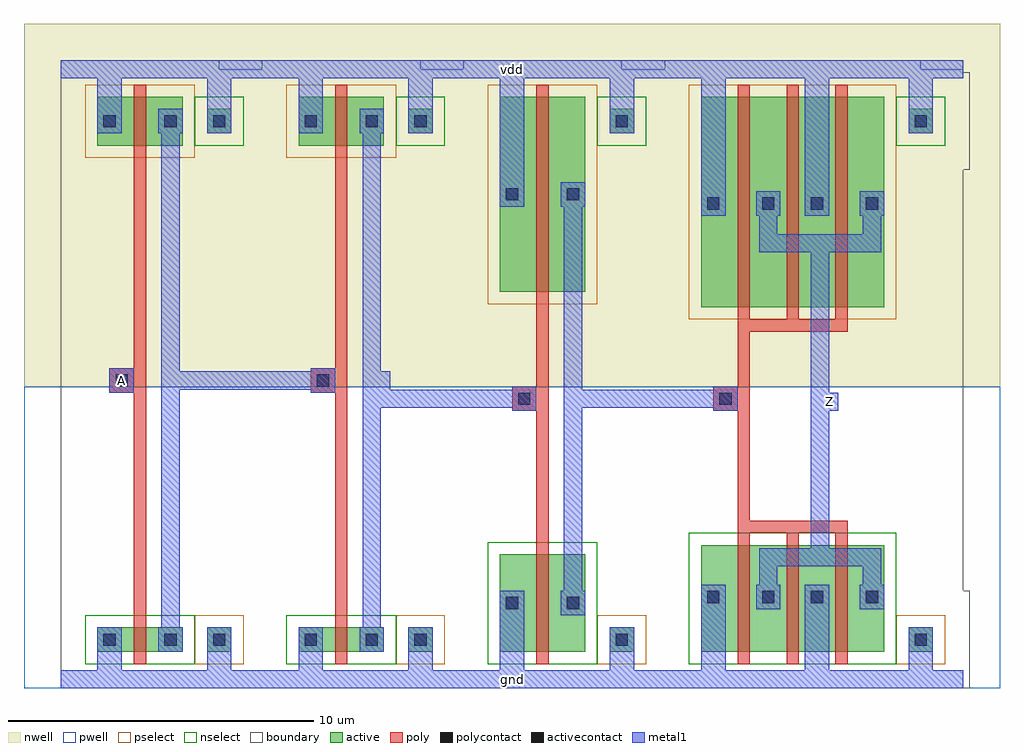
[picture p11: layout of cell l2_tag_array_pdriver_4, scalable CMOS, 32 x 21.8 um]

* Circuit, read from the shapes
.subckt l2_tag_array_pdriver_4 A Z gnd vdd
M1 l2_tag_array_pinv_7_1/A A gnd gnd nfet w=0.8u l=0.4u
M2 l2_tag_array_pinv_14_2/A l2_tag_array_pinv_7_1/A gnd gnd nfet w=0.8u l=0.4u
M3 l2_tag_array_pinv_15_3/A l2_tag_array_pinv_14_2/A gnd gnd nfet w=3.2u l=0.4u
M4 Z l2_tag_array_pinv_15_3/A gnd gnd nfet w=3.5u l=0.4u m=3
M5 l2_tag_array_pinv_7_1/A A vdd vdd pfet w=1.6u l=0.4u
M6 l2_tag_array_pinv_14_2/A l2_tag_array_pinv_7_1/A vdd vdd pfet w=1.6u l=0.4u
M7 l2_tag_array_pinv_15_3/A l2_tag_array_pinv_14_2/A vdd vdd pfet w=6.4u l=0.4u
M8 Z l2_tag_array_pinv_15_3/A vdd vdd pfet w=6.9u l=0.4u m=3
.ends

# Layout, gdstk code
import gdstk
lib = gdstk.Library(unit=1e-6, precision=1e-09)
def R(c, l, rs):  # rectangles x0, y0, x1, y1
    for r in rs: c.add(gdstk.rectangle(r[:2], r[2:], *l))
def A(c, l, x, y, w, h, nx, ny, dx, dy):  # array of equal rectangles
    R(c, l, [(x+i*dx, y+j*dy, x+i*dx+w, y+j*dy+h) for i in range(nx) for j in range(ny)])
pwell = (41, 0)
nwell = (42, 0)
active = (43, 0)
pselect = (44, 0)
nselect = (45, 0)
poly = (46, 0)
polycontact = (47, 0)
activecontact = (48, 0)
metal1 = (49, 0)
boundary = (63, 0)

l2_tag_array_contact_11 = lib.new_cell('l2_tag_array_contact_11')
R(l2_tag_array_contact_11, nwell, [(-1.2,-1.2,2,2)])
R(l2_tag_array_contact_11, active, [(0,0,0.8,0.8)])
R(l2_tag_array_contact_11, pselect, [(-0.4,-0.4,1.2,1.2)])
R(l2_tag_array_contact_11, activecontact, [(0.2,0.2,0.6,0.6)])
R(l2_tag_array_contact_11, metal1, [(0,0,0.8,0.8)])
R(l2_tag_array_contact_11, boundary, [(-1.2,-1.2,2,2)])

l2_tag_array_pmos_m1_w1_ = lib.new_cell('l2_tag_array_pmos_m1_w1_600_sm1_dm1_da_p')
R(l2_tag_array_pmos_m1_w1_, nwell, [(-1.2,-1.2,4,2.8)])
R(l2_tag_array_pmos_m1_w1_, active, [(0,0,2.8,1.6)])
R(l2_tag_array_pmos_m1_w1_, pselect, [(-0.4,-0.4,3.2,2)])
R(l2_tag_array_pmos_m1_w1_, poly, [(1.2,-0.4,1.6,2), (1.2,-0.4,1.6,2)])
R(l2_tag_array_pmos_m1_w1_, metal1, [(0,0.4,0.8,1.2), (2,0.4,2.8,1.2)])
R(l2_tag_array_pmos_m1_w1_, boundary, [(-1.2,-1.2,4,2.8)])
l2_tag_array_pmos_m1_w1_.add(gdstk.Reference(l2_tag_array_contact_11, (0,0.4)))
l2_tag_array_pmos_m1_w1_.add(gdstk.Reference(l2_tag_array_contact_11, (2,0.4)))
l2_tag_array_pmos_m1_w1_.add(gdstk.Label('G', (1.4,0.8), layer=46, texttype=0))
l2_tag_array_pmos_m1_w1_.add(gdstk.Label('S', (0.4,0.8), layer=49, texttype=0))
l2_tag_array_pmos_m1_w1_.add(gdstk.Label('D', (2.4,0.8), layer=49, texttype=0))

l2_tag_array_contact_10 = lib.new_cell('l2_tag_array_contact_10')
R(l2_tag_array_contact_10, pwell, [(-1.2,-1.2,2,2)])
R(l2_tag_array_contact_10, active, [(0,0,0.8,0.8)])
R(l2_tag_array_contact_10, nselect, [(-0.4,-0.4,1.2,1.2)])
R(l2_tag_array_contact_10, activecontact, [(0.2,0.2,0.6,0.6)])
R(l2_tag_array_contact_10, metal1, [(0,0,0.8,0.8)])
R(l2_tag_array_contact_10, boundary, [(-1.2,-1.2,2,2)])

l2_tag_array_nmos_m1_w0_ = lib.new_cell('l2_tag_array_nmos_m1_w0_800_sm1_dm1_da_p')
R(l2_tag_array_nmos_m1_w0_, pwell, [(-1.2,-1.2,4,2)])
R(l2_tag_array_nmos_m1_w0_, active, [(0,0,2.8,0.8)])
R(l2_tag_array_nmos_m1_w0_, nselect, [(-0.4,-0.4,3.2,1.2)])
R(l2_tag_array_nmos_m1_w0_, poly, [(1.2,-0.4,1.6,1.2), (1.2,-0.4,1.6,1.2)])
R(l2_tag_array_nmos_m1_w0_, metal1, [(0,0,0.8,0.8), (2,0,2.8,0.8)])
R(l2_tag_array_nmos_m1_w0_, boundary, [(-1.2,-1.2,4,2)])
l2_tag_array_nmos_m1_w0_.add(gdstk.Reference(l2_tag_array_contact_10, (0,0)))
l2_tag_array_nmos_m1_w0_.add(gdstk.Reference(l2_tag_array_contact_10, (2,0)))
l2_tag_array_nmos_m1_w0_.add(gdstk.Label('G', (1.4,0.4), layer=46, texttype=0))
l2_tag_array_nmos_m1_w0_.add(gdstk.Label('S', (0.4,0.4), layer=49, texttype=0))
l2_tag_array_nmos_m1_w0_.add(gdstk.Label('D', (2.4,0.4), layer=49, texttype=0))

l2_tag_array_contact_12 = lib.new_cell('l2_tag_array_contact_12')
R(l2_tag_array_contact_12, nwell, [(-1.2,-1.2,2,2)])
R(l2_tag_array_contact_12, active, [(0,0,0.8,0.8)])
R(l2_tag_array_contact_12, nselect, [(-0.4,-0.4,1.2,1.2)])
R(l2_tag_array_contact_12, activecontact, [(0.2,0.2,0.6,0.6)])
R(l2_tag_array_contact_12, metal1, [(0,0,0.8,0.8)])
R(l2_tag_array_contact_12, boundary, [(-1.2,-1.2,2,2)])

l2_tag_array_contact_13 = lib.new_cell('l2_tag_array_contact_13')
R(l2_tag_array_contact_13, pwell, [(-1.2,-1.2,2,2)])
R(l2_tag_array_contact_13, active, [(0,0,0.8,0.8)])
R(l2_tag_array_contact_13, pselect, [(-0.4,-0.4,1.2,1.2)])
R(l2_tag_array_contact_13, activecontact, [(0.2,0.2,0.6,0.6)])
R(l2_tag_array_contact_13, metal1, [(0,0,0.8,0.8)])
R(l2_tag_array_contact_13, boundary, [(-1.2,-1.2,2,2)])

l2_tag_array_contact_14 = lib.new_cell('l2_tag_array_contact_14')
R(l2_tag_array_contact_14, poly, [(0,0,0.8,0.8)])
R(l2_tag_array_contact_14, polycontact, [(0.2,0.2,0.6,0.6)])
R(l2_tag_array_contact_14, metal1, [(0,0,0.8,0.8)])
R(l2_tag_array_contact_14, boundary, [(0,0,0.8,0.8)])

l2_tag_array_pinv_7 = lib.new_cell('l2_tag_array_pinv_7')
R(l2_tag_array_pinv_7, pwell, [(-1.2,-0.3,7.8,9.6)])
R(l2_tag_array_pinv_7, nwell, [(-1.2,9.6,7.8,21.5)])
R(l2_tag_array_pinv_7, poly, [(2.4,2.1,2.8,17.1), (2,9.4,2.4,10.2)])
R(l2_tag_array_pinv_7, metal1, [(0,-0.3,6.6,0.3), (1.2,-0.3,2,0.9), (4.8,0,5.6,1.3), (3.3,0.9,3.9,18.7), (1.6,9.4,2.4,10.2), (3.6,9.5,4.2,10.1), (1.2,17.9,2,20.3), (4.8,18.3,5.6,20), (0,19.7,6.6,20.3)])
R(l2_tag_array_pinv_7, boundary, [(0,0,6.6,20), (0,0,6.6,20)])
l2_tag_array_pinv_7.add(gdstk.Reference(l2_tag_array_pmos_m1_w1_, (1.2,17.5)))
l2_tag_array_pinv_7.add(gdstk.Reference(l2_tag_array_nmos_m1_w0_, (1.2,0.9)))
l2_tag_array_pinv_7.add(gdstk.Reference(l2_tag_array_contact_12, (4.8,17.9)))
l2_tag_array_pinv_7.add(gdstk.Reference(l2_tag_array_contact_13, (4.8,0.9)))
l2_tag_array_pinv_7.add(gdstk.Reference(l2_tag_array_contact_14, (1.6,9.4)))
l2_tag_array_pinv_7.add(gdstk.Label('A', (2,9.8), layer=49, texttype=0))
l2_tag_array_pinv_7.add(gdstk.Label('Z', (3.9,9.8), layer=49, texttype=0))
l2_tag_array_pinv_7.add(gdstk.Label('gnd', (3.3,0), layer=49, texttype=0))
l2_tag_array_pinv_7.add(gdstk.Label('vdd', (3.3,20), layer=49, texttype=0))

l2_tag_array_pmos_m1_w6_ = lib.new_cell('l2_tag_array_pmos_m1_w6_400_sm1_dm1_da_p')
R(l2_tag_array_pmos_m1_w6_, nwell, [(-1.2,-1.2,4,7.6)])
R(l2_tag_array_pmos_m1_w6_, active, [(0,0,2.8,6.4)])
R(l2_tag_array_pmos_m1_w6_, pselect, [(-0.4,-0.4,3.2,6.8)])
R(l2_tag_array_pmos_m1_w6_, poly, [(1.2,-0.4,1.6,6.8), (1.2,-0.4,1.6,6.8)])
R(l2_tag_array_pmos_m1_w6_, metal1, [(0,2.8,0.8,3.6), (2,2.8,2.8,3.6)])
R(l2_tag_array_pmos_m1_w6_, boundary, [(-1.2,-1.2,4,7.6)])
l2_tag_array_pmos_m1_w6_.add(gdstk.Reference(l2_tag_array_contact_11, (0,2.8)))
l2_tag_array_pmos_m1_w6_.add(gdstk.Reference(l2_tag_array_contact_11, (2,2.8)))
l2_tag_array_pmos_m1_w6_.add(gdstk.Label('G', (1.4,3.2), layer=46, texttype=0))
l2_tag_array_pmos_m1_w6_.add(gdstk.Label('S', (0.4,3.2), layer=49, texttype=0))
l2_tag_array_pmos_m1_w6_.add(gdstk.Label('D', (2.4,3.2), layer=49, texttype=0))

l2_tag_array_nmos_m1_w3_ = lib.new_cell('l2_tag_array_nmos_m1_w3_200_sm1_dm1_da_p')
R(l2_tag_array_nmos_m1_w3_, pwell, [(-1.2,-1.2,4,4.4)])
R(l2_tag_array_nmos_m1_w3_, active, [(0,0,2.8,3.2)])
R(l2_tag_array_nmos_m1_w3_, nselect, [(-0.4,-0.4,3.2,3.6)])
R(l2_tag_array_nmos_m1_w3_, poly, [(1.2,-0.4,1.6,3.6), (1.2,-0.4,1.6,3.6)])
R(l2_tag_array_nmos_m1_w3_, metal1, [(0,1.2,0.8,2), (2,1.2,2.8,2)])
R(l2_tag_array_nmos_m1_w3_, boundary, [(-1.2,-1.2,4,4.4)])
l2_tag_array_nmos_m1_w3_.add(gdstk.Reference(l2_tag_array_contact_10, (0,1.2)))
l2_tag_array_nmos_m1_w3_.add(gdstk.Reference(l2_tag_array_contact_10, (2,1.2)))
l2_tag_array_nmos_m1_w3_.add(gdstk.Label('G', (1.4,1.6), layer=46, texttype=0))
l2_tag_array_nmos_m1_w3_.add(gdstk.Label('S', (0.4,1.6), layer=49, texttype=0))
l2_tag_array_nmos_m1_w3_.add(gdstk.Label('D', (2.4,1.6), layer=49, texttype=0))

l2_tag_array_pinv_14 = lib.new_cell('l2_tag_array_pinv_14')
R(l2_tag_array_pinv_14, pwell, [(-1.2,-0.3,7.8,9.6)])
R(l2_tag_array_pinv_14, nwell, [(-1.2,9.6,7.8,21.5)])
R(l2_tag_array_pinv_14, poly, [(2.4,4.5,2.8,12.3), (2,8.8,2.4,9.6)])
R(l2_tag_array_pinv_14, metal1, [(0,-0.3,6.6,0.3), (1.2,-0.3,2,2.1), (4.8,0,5.6,1.3), (3.3,2.1,3.9,16.3), (1.6,8.8,2.4,9.6), (3.6,8.9,4.2,9.5), (1.2,15.5,2,20.3), (4.8,18.3,5.6,20), (0,19.7,6.6,20.3)])
R(l2_tag_array_pinv_14, boundary, [(0,0,6.6,20), (0,0,6.6,20)])
l2_tag_array_pinv_14.add(gdstk.Reference(l2_tag_array_pmos_m1_w6_, (1.2,12.7)))
l2_tag_array_pinv_14.add(gdstk.Reference(l2_tag_array_nmos_m1_w3_, (1.2,0.9)))
l2_tag_array_pinv_14.add(gdstk.Reference(l2_tag_array_contact_12, (4.8,17.9)))
l2_tag_array_pinv_14.add(gdstk.Reference(l2_tag_array_contact_13, (4.8,0.9)))
l2_tag_array_pinv_14.add(gdstk.Reference(l2_tag_array_contact_14, (1.6,8.8)))
l2_tag_array_pinv_14.add(gdstk.Label('A', (2,9.2), layer=49, texttype=0))
l2_tag_array_pinv_14.add(gdstk.Label('Z', (3.9,9.2), layer=49, texttype=0))
l2_tag_array_pinv_14.add(gdstk.Label('gnd', (3.3,0), layer=49, texttype=0))
l2_tag_array_pinv_14.add(gdstk.Label('vdd', (3.3,20), layer=49, texttype=0))

l2_tag_array_pmos_m3_w6_ = lib.new_cell('l2_tag_array_pmos_m3_w6_900_sm1_dm1_da_p')
R(l2_tag_array_pmos_m3_w6_, nwell, [(-1.2,-1.2,7.2,8.1)])
R(l2_tag_array_pmos_m3_w6_, active, [(0,0,6,6.9)])
R(l2_tag_array_pmos_m3_w6_, pselect, [(-0.4,-0.4,6.4,7.3)])
A(l2_tag_array_pmos_m3_w6_, poly, 1.2, -0.4, 0.4, 7.7, 3, 1, 1.6, 0)
R(l2_tag_array_pmos_m3_w6_, poly, [(1.2,-0.8,4.8,-0.4)])
R(l2_tag_array_pmos_m3_w6_, metal1, [(1.9,1.8,5.9,2.4), (1.9,2.2,2.5,3.4), (5.3,2.2,5.9,3.4), (0,3,0.8,3.8), (3.4,3,4.2,3.8)])
R(l2_tag_array_pmos_m3_w6_, boundary, [(-1.2,-1.2,7.2,8.1)])
l2_tag_array_pmos_m3_w6_.add(gdstk.Reference(l2_tag_array_contact_11, (0,3)))
l2_tag_array_pmos_m3_w6_.add(gdstk.Reference(l2_tag_array_contact_11, (1.8,3)))
l2_tag_array_pmos_m3_w6_.add(gdstk.Reference(l2_tag_array_contact_11, (3.4,3)))
l2_tag_array_pmos_m3_w6_.add(gdstk.Reference(l2_tag_array_contact_11, (5.2,3)))
l2_tag_array_pmos_m3_w6_.add(gdstk.Label('G', (3,-0.6), layer=46, texttype=0))
l2_tag_array_pmos_m3_w6_.add(gdstk.Label('S', (0.4,3.4), layer=49, texttype=0))
l2_tag_array_pmos_m3_w6_.add(gdstk.Label('S', (3.8,3.4), layer=49, texttype=0))
l2_tag_array_pmos_m3_w6_.add(gdstk.Label('D', (3.9,2.1), layer=49, texttype=0))

l2_tag_array_nmos_m3_w3_ = lib.new_cell('l2_tag_array_nmos_m3_w3_500_sm1_dm1_da_p')
R(l2_tag_array_nmos_m3_w3_, pwell, [(-1.2,-1.2,7.2,4.7)])
R(l2_tag_array_nmos_m3_w3_, active, [(0,0,6,3.5)])
R(l2_tag_array_nmos_m3_w3_, nselect, [(-0.4,-0.4,6.4,3.9)])
A(l2_tag_array_nmos_m3_w3_, poly, 1.2, -0.4, 0.4, 4.3, 3, 1, 1.6, 0)
R(l2_tag_array_nmos_m3_w3_, poly, [(1.2,3.9,4.8,4.3)])
R(l2_tag_array_nmos_m3_w3_, metal1, [(0,1.4,0.8,2.2), (3.4,1.4,4.2,2.2), (1.9,1.8,2.5,3), (5.3,1.8,5.9,3), (1.9,2.8,5.9,3.4)])
R(l2_tag_array_nmos_m3_w3_, boundary, [(-1.2,-1.2,7.2,4.7)])
l2_tag_array_nmos_m3_w3_.add(gdstk.Reference(l2_tag_array_contact_10, (0,1.4)))
l2_tag_array_nmos_m3_w3_.add(gdstk.Reference(l2_tag_array_contact_10, (1.8,1.4)))
l2_tag_array_nmos_m3_w3_.add(gdstk.Reference(l2_tag_array_contact_10, (3.4,1.4)))
l2_tag_array_nmos_m3_w3_.add(gdstk.Reference(l2_tag_array_contact_10, (5.2,1.4)))
l2_tag_array_nmos_m3_w3_.add(gdstk.Label('G', (3,4.1), layer=46, texttype=0))
l2_tag_array_nmos_m3_w3_.add(gdstk.Label('S', (3.8,1.8), layer=49, texttype=0))
l2_tag_array_nmos_m3_w3_.add(gdstk.Label('S', (0.4,1.8), layer=49, texttype=0))
l2_tag_array_nmos_m3_w3_.add(gdstk.Label('D', (3.9,3.1), layer=49, texttype=0))

l2_tag_array_pinv_15 = lib.new_cell('l2_tag_array_pinv_15')
R(l2_tag_array_pinv_15, pwell, [(-1.2,-0.3,11,9.6)])
R(l2_tag_array_pinv_15, nwell, [(-1.2,9.6,11,21.5)])
R(l2_tag_array_pinv_15, poly, [(2.4,5.2,2.8,11.4), (2,8.8,2.4,9.6)])
R(l2_tag_array_pinv_15, metal1, [(0,-0.3,9.8,0.3), (1.2,-0.3,2,2.3), (4.6,-0.3,5.4,2.3), (8,0,8.8,1.3), (4.8,3.7,5.4,14.6), (1.6,8.8,2.4,9.6), (5.1,8.8,5.7,9.4), (1.2,15.2,2,20.3), (4.6,15.2,5.4,20.3), (8,18.3,8.8,20), (0,19.7,9.8,20.3)])
R(l2_tag_array_pinv_15, boundary, [(0,0,9.8,20), (0,0,9.8,20)])
l2_tag_array_pinv_15.add(gdstk.Reference(l2_tag_array_pmos_m3_w6_, (1.2,12.2)))
l2_tag_array_pinv_15.add(gdstk.Reference(l2_tag_array_nmos_m3_w3_, (1.2,0.9)))
l2_tag_array_pinv_15.add(gdstk.Reference(l2_tag_array_contact_12, (8,17.9)))
l2_tag_array_pinv_15.add(gdstk.Reference(l2_tag_array_contact_13, (8,0.9)))
l2_tag_array_pinv_15.add(gdstk.Reference(l2_tag_array_contact_14, (1.6,8.8)))
l2_tag_array_pinv_15.add(gdstk.Label('A', (2,9.2), layer=49, texttype=0))
l2_tag_array_pinv_15.add(gdstk.Label('Z', (5.4,9.1), layer=49, texttype=0))
l2_tag_array_pinv_15.add(gdstk.Label('gnd', (4.9,0), layer=49, texttype=0))
l2_tag_array_pinv_15.add(gdstk.Label('vdd', (4.9,20), layer=49, texttype=0))

l2_tag_array_pdriver_4 = lib.new_cell('l2_tag_array_pdriver_4')
R(l2_tag_array_pdriver_4, pwell, [(-1.2,-0.3,30.8,9.6)])
R(l2_tag_array_pdriver_4, nwell, [(-1.2,9.6,30.8,21.5)])
R(l2_tag_array_pdriver_4, metal1, [(0,-0.3,29.6,0.3), (24.9,8.8,25.5,9.4), (10.2,8.9,10.8,9.5), (10.5,8.9,15.2,9.5), (17.1,8.9,21.8,9.5), (10.2,9.2,10.8,9.8), (1.6,9.4,2.4,10.2), (3.9,9.5,8.6,10.1), (0,19.7,29.6,20.3)])
R(l2_tag_array_pdriver_4, boundary, [(0,0,29.6,20), (0,0,29.6,20)])
l2_tag_array_pdriver_4.add(gdstk.Reference(l2_tag_array_pinv_7, (0,0)))
l2_tag_array_pdriver_4.add(gdstk.Reference(l2_tag_array_pinv_7, (6.6,0)))
l2_tag_array_pdriver_4.add(gdstk.Reference(l2_tag_array_pinv_14, (13.2,0)))
l2_tag_array_pdriver_4.add(gdstk.Reference(l2_tag_array_pinv_15, (19.8,0)))
l2_tag_array_pdriver_4.add(gdstk.Label('Z', (25.2,9.1), layer=49, texttype=0))
l2_tag_array_pdriver_4.add(gdstk.Label('A', (2,9.8), layer=49, texttype=0))
l2_tag_array_pdriver_4.add(gdstk.Label('gnd', (14.8,0), layer=49, texttype=0))
l2_tag_array_pdriver_4.add(gdstk.Label('vdd', (14.8,20), layer=49, texttype=0))

lib.write_gds('l2_tag_array_pdriver_4.gds')
